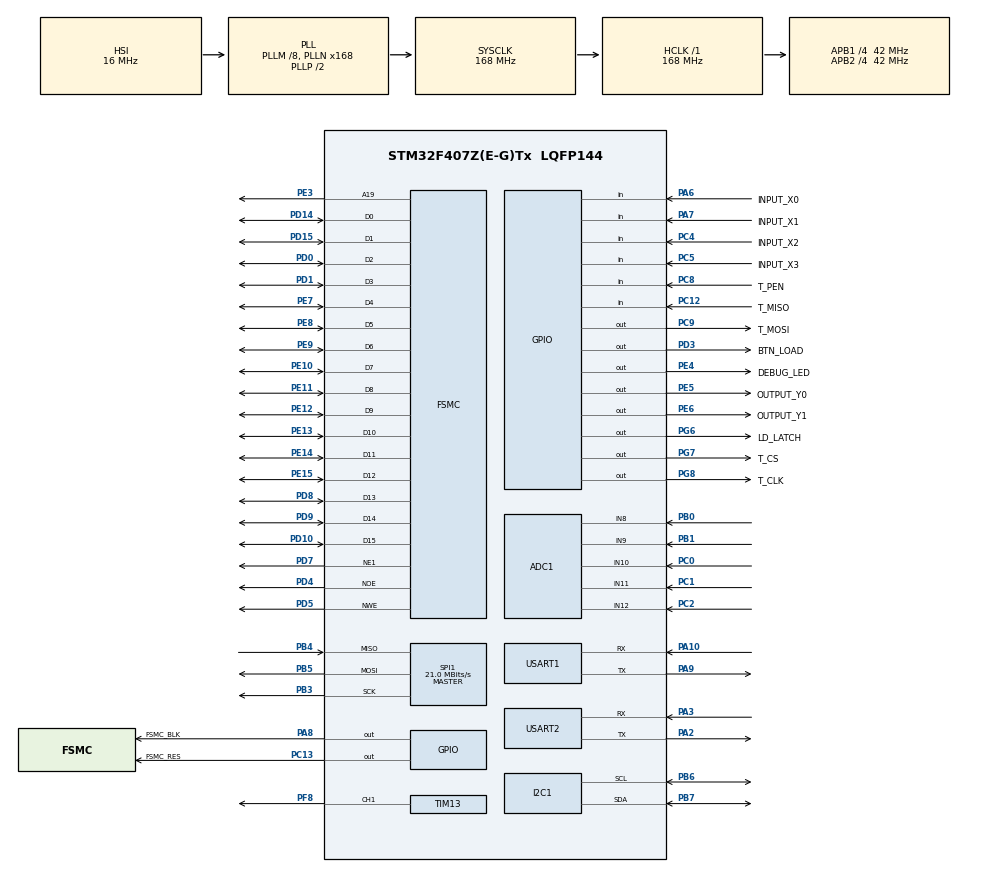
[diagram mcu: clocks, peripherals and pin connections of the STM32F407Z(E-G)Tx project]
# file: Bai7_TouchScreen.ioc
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ADC1.Channel-0\#ChannelRegularConversion=ADC_CHANNEL_8
ADC1.Channel-1\#ChannelRegularConversion=ADC_CHANNEL_9
ADC1.Channel-2\#ChannelRegularConversion=ADC_CHANNEL_10
ADC1.Channel-3\#ChannelRegularConversion=ADC_CHANNEL_11
ADC1.Channel-4\#ChannelRegularConversion=ADC_CHANNEL_12
ADC1.NbrOfConversion=5
ADC1.NbrOfConversionFlag=1
ADC1.Rank-0\#ChannelRegularConversion=1
ADC1.Rank-1\#ChannelRegularConversion=2
ADC1.Rank-2\#ChannelRegularConversion=3
ADC1.Rank-3\#ChannelRegularConversion=4
ADC1.Rank-4\#ChannelRegularConversion=5
ADC1.SamplingTime-0\#ChannelRegularConversion=ADC_SAMPLETIME_3CYCLES
ADC1.SamplingTime-1\#ChannelRegularConversion=ADC_SAMPLETIME_3CYCLES
ADC1.SamplingTime-2\#ChannelRegularConversion=ADC_SAMPLETIME_3CYCLES
ADC1.SamplingTime-3\#ChannelRegularConversion=ADC_SAMPLETIME_3CYCLES
ADC1.SamplingTime-4\#ChannelRegularConversion=ADC_SAMPLETIME_3CYCLES
ADC1.ScanConvMode=ENABLE
ADC1.master=1
Dma.ADC1.0.Direction=DMA_PERIPH_TO_MEMORY
Dma.ADC1.0.FIFOMode=DMA_FIFOMODE_DISABLE
Dma.ADC1.0.Instance=DMA2_Stream0
Dma.ADC1.0.MemDataAlignment=DMA_MDATAALIGN_HALFWORD
Dma.ADC1.0.MemInc=DMA_MINC_ENABLE
Dma.ADC1.0.Mode=DMA_CIRCULAR
Dma.ADC1.0.PeriphDataAlignment=DMA_PDATAALIGN_HALFWORD
Dma.ADC1.0.PeriphInc=DMA_PINC_DISABLE
Dma.ADC1.0.Priority=DMA_PRIORITY_LOW
Dma.Request0=ADC1
FSMC.AddressSetupTime1=0xf
FSMC.BusTurnAroundDuration1=0
FSMC.DataSetupTime1=60
FSMC.ExtendedAddressSetupTime1=8
FSMC.ExtendedBusTurnAroundDuration1=0
FSMC.ExtendedDataSetupTime1=9
FSMC.ExtendedMode1=FSMC_EXTENDED_MODE_ENABLE
I2C1.I2C_Mode=I2C_Standard
Mcu.Family=STM32F4
Mcu.Name=STM32F407Z(E-G)Tx
Mcu.Package=LQFP144
NVIC.DMA2_Stream0_IRQn=true\:0\:0\:false\:false\:true\:false\:true
NVIC.PriorityGroup=NVIC_PRIORITYGROUP_4
NVIC.TIM2_IRQn=true\:0\:0\:false\:false\:true\:true\:true
NVIC.USART1_IRQn=true\:0\:0\:false\:false\:true\:true\:true
NVIC.USART2_IRQn=true\:0\:0\:false\:false\:true\:true\:true
PA10.Mode=Asynchronous
PA10.Signal=USART1_RX
PA13.Mode=Serial_Wire
PA13.Signal=SYS_JTMS-SWDIO
PA14.Mode=Serial_Wire
PA14.Signal=SYS_JTCK-SWCLK
PA2.Mode=Asynchronous
PA2.Signal=USART2_TX
PA3.Mode=Asynchronous
PA3.Signal=USART2_RX
PA6.GPIO_Label=INPUT_X0
PA6.Signal=GPIO_Input
PA7.GPIO_Label=INPUT_X1
PA7.Signal=GPIO_Input
PA8.GPIO_Label=FSMC_BLK
PA8.Signal=GPIO_Output
PA9.Mode=Asynchronous
PA9.Signal=USART1_TX
PB0.Signal=ADCx_IN8
PB1.Signal=ADCx_IN9
PB3.Mode=Full_Duplex_Master
PB3.Signal=SPI1_SCK
PB4.Mode=Full_Duplex_Master
PB4.Signal=SPI1_MISO
PB5.Mode=Full_Duplex_Master
PB5.Signal=SPI1_MOSI
PB6.Mode=I2C
PB6.Signal=I2C1_SCL
PB7.Mode=I2C
PB7.Signal=I2C1_SDA
PC0.Signal=ADCx_IN10
PC1.Signal=ADCx_IN11
PC12.GPIO_Label=T_MISO
PC12.GPIO_PuPd=GPIO_PULLUP
PC12.Signal=GPIO_Input
PC13-ANTI_TAMP.GPIO_Label=FSMC_RES
PC13-ANTI_TAMP.Signal=GPIO_Output
PC2.Signal=ADCx_IN12
PC4.GPIO_Label=INPUT_X2
PC4.Signal=GPIO_Input
PC5.GPIO_Label=INPUT_X3
PC5.Signal=GPIO_Input
PC8.GPIO_Label=T_PEN
PC8.GPIO_PuPd=GPIO_PULLUP
PC8.Signal=GPIO_Input
PC9.GPIO_Label=T_MOSI
PC9.Signal=GPIO_Output
PD0.Signal=FSMC_D2_DA2
PD1.Signal=FSMC_D3_DA3
PD10.Signal=FSMC_D15_DA15
PD14.Signal=FSMC_D0_DA0
PD15.Signal=FSMC_D1_DA1
PD3.GPIO_Label=BTN_LOAD
PD3.Signal=GPIO_Output
PD4.Signal=FSMC_NOE
PD5.Signal=FSMC_NWE
PD7.Mode=NorPsramChipSelect1_1
PD7.Signal=FSMC_NE1
PD8.Signal=FSMC_D13_DA13
PD9.Signal=FSMC_D14_DA14
PE10.Signal=FSMC_D7_DA7
PE11.Signal=FSMC_D8_DA8
PE12.Signal=FSMC_D9_DA9
PE13.Signal=FSMC_D10_DA10
PE14.Signal=FSMC_D11_DA11
PE15.Signal=FSMC_D12_DA12
PE3.Signal=FSMC_A19
PE4.GPIO_Label=DEBUG_LED
PE4.Signal=GPIO_Output
PE5.GPIO_Label=OUTPUT_Y0
PE5.Signal=GPIO_Output
PE6.GPIO_Label=OUTPUT_Y1
PE6.Signal=GPIO_Output
PE7.Signal=FSMC_D4_DA4
PE8.Signal=FSMC_D5_DA5
PE9.Signal=FSMC_D6_DA6
PF8.Signal=S_TIM13_CH1
PG6.GPIO_Label=LD_LATCH
PG6.Signal=GPIO_Output
PG7.GPIO_Label=T_CS
PG7.Signal=GPIO_Output
PG8.GPIO_Label=T_CLK
PG8.Signal=GPIO_Output
PH0-OSC_IN.Mode=HSE-External-Oscillator
PH0-OSC_IN.Signal=RCC_OSC_IN
PH1-OSC_OUT.Mode=HSE-External-Oscillator
PH1-OSC_OUT.Signal=RCC_OSC_OUT
ProjectManager.HeapSize=0x200
ProjectManager.StackSize=0x400
ProjectManager.TargetToolchain=STM32CubeIDE
RCC.48MHZClocksFreq_Value=84000000
RCC.AHBFreq_Value=168000000
RCC.APB1CLKDivider=RCC_HCLK_DIV4
RCC.APB1Freq_Value=42000000
RCC.APB1TimFreq_Value=84000000
RCC.APB2CLKDivider=RCC_HCLK_DIV4
RCC.APB2Freq_Value=42000000
RCC.APB2TimFreq_Value=84000000
RCC.CortexFreq_Value=168000000
RCC.HCLKFreq_Value=168000000
RCC.HSE_VALUE=8000000
RCC.HSI_VALUE=16000000
RCC.LSE_VALUE=32768
RCC.PLLM=8
RCC.PLLN=168
RCC.SYSCLKFreq_VALUE=168000000
RCC.SYSCLKSource=RCC_SYSCLKSOURCE_PLLCLK
RCC.VCOOutputFreq_Value=336000000
SH.ADCx_IN10.0=ADC1_IN10,IN10
SH.ADCx_IN11.0=ADC1_IN11,IN11
SH.ADCx_IN12.0=ADC1_IN12,IN12
SH.ADCx_IN8.0=ADC1_IN8,IN8
SH.ADCx_IN9.0=ADC1_IN9,IN9
SH.FSMC_A19.0=FSMC_A19,A19_1
SH.FSMC_D0_DA0.0=FSMC_D0,16b-d1
SH.FSMC_D10_DA10.0=FSMC_D10,16b-d1
SH.FSMC_D11_DA11.0=FSMC_D11,16b-d1
SH.FSMC_D12_DA12.0=FSMC_D12,16b-d1
SH.FSMC_D13_DA13.0=FSMC_D13,16b-d1
SH.FSMC_D14_DA14.0=FSMC_D14,16b-d1
SH.FSMC_D15_DA15.0=FSMC_D15,16b-d1
SH.FSMC_D1_DA1.0=FSMC_D1,16b-d1
SH.FSMC_D2_DA2.0=FSMC_D2,16b-d1
SH.FSMC_D3_DA3.0=FSMC_D3,16b-d1
SH.FSMC_D4_DA4.0=FSMC_D4,16b-d1
SH.FSMC_D5_DA5.0=FSMC_D5,16b-d1
SH.FSMC_D6_DA6.0=FSMC_D6,16b-d1
SH.FSMC_D7_DA7.0=FSMC_D7,16b-d1
SH.FSMC_D8_DA8.0=FSMC_D8,16b-d1
SH.FSMC_D9_DA9.0=FSMC_D9,16b-d1
SH.FSMC_NOE.0=FSMC_NOE,Lcd1
SH.FSMC_NWE.0=FSMC_NWE,Lcd1
SH.S_TIM13_CH1.0=TIM13_CH1,PWM Generation1 CH1
SPI1.BaudRatePrescaler=SPI_BAUDRATEPRESCALER_2
SPI1.CalculateBaudRate=21.0 MBits/s
SPI1.Direction=SPI_DIRECTION_2LINES
SPI1.Mode=SPI_MODE_MASTER
SPI1.VirtualType=VM_MASTER
TIM1.Prescaler=84-1
TIM13.Channel=TIM_CHANNEL_1
TIM13.Period=100-1
TIM13.Prescaler=840-1
TIM2.Period=100-1
TIM2.Prescaler=840-1
USART1.VirtualMode=VM_ASYNC
USART2.VirtualMode=VM_ASYNC
VP_TIM13_VS_ClockSourceINT.Mode=Enable_Timer
VP_TIM1_VS_ClockSourceINT.Mode=Internal
VP_TIM2_VS_ClockSourceINT.Mode=Internal
board=custom

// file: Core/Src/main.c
/* USER CODE BEGIN Header */
/**
  ******************************************************************************
  * @file           : main.c
  * @brief          : Main program body
  ******************************************************************************
  * @attention
  *
  * <h2><center>&copy; Copyright (c) 2023 STMicroelectronics.
  * All rights reserved.</center></h2>
  *
  * This software component is licensed by ST under BSD 3-Clause license,
  * the "License"; You may not use this file except in compliance with the
  * License. You may obtain a copy of the License at:
  *                        opensource.org/licenses/BSD-3-Clause
  *
  ******************************************************************************
  */
/* USER CODE END Header */
#include "main.h"
#include "adc.h"
#include "dma.h"
#include "i2c.h"
#include "spi.h"
#include "tim.h"
#include "usart.h"
#include "gpio.h"
#include "fsmc.h"

/* USER CODE BEGIN Includes */
#include "software_timer.h"
#include "led_7seg.h"
#include "button.h"
#include "lcd.h"
#include "picture.h"
#include "ds3231.h"
#include "sensor.h"
#include "buzzer.h"
#include "touch.h"
#include "fsm.h"
#include "snake.h"
#include "screen.h"
#include "touch_screen.h"
/* USER CODE END Includes */

/* USER CODE BEGIN PV */
#define INIT 0
#define DRAW 1
#define CLEAR 2

int draw_Status = INIT;
/* USER CODE END PV */

void SystemClock_Config(void);
/* USER CODE BEGIN PFP */
void system_init();
void test_LedDebug();
void touchProcess();
void test_button();
uint8_t isButtonClear();
void test_Adc();
void sendSensor();
/* USER CODE END PFP */

int main(void)
{

  /* MCU Configuration--------------------------------------------------------*/

  /* Reset of all peripherals, Initializes the Flash interface and the Systick. */
  HAL_Init();

  /* Configure the system clock */
  SystemClock_Config();

  /* Initialize all configured peripherals */
  MX_GPIO_Init();
  MX_TIM2_Init();
  MX_SPI1_Init();
  MX_FSMC_Init();
  MX_I2C1_Init();
  MX_TIM13_Init();
  MX_DMA_Init();
  MX_ADC1_Init();
  MX_TIM1_Init();
  MX_USART1_UART_Init();
  MX_USART2_UART_Init();
  /* USER CODE BEGIN 2 */
  system_init();
  /* USER CODE END 2 */

  /* Infinite loop */
  /* USER CODE BEGIN WHILE */
 //touch_Adjust();
 setTimer3(100);
 setTimer5(10);
 setTimer7(10);
 while (1)
  {
	  //scan touch screen
	  //check if touch screen is touched
	  /*if(touch_IsTouched() && draw_Status == DRAW){
            //draw a point at the touch position
		  lcd_DrawPoint(touch_GetX(), touch_GetY(), RED);
	  }*/
	  // 50ms task
	  while(!flag_timer2);
	  flag_timer2 = 0;
	  touch_Scan();
	  button_Scan();
//	  if(flag_timer5 == 1){
//		  sendSensor();
//		  setTimer5(5000);
//	  }
//	  if(isHumidity()){
//		  buzzer_check = 1;
//	  }else{
//		  buzzer_check = 0;
//	  }
//	  if (isLight()){
//		HAL_GPIO_WritePin(OUTPUT_Y0_GPIO_Port, OUTPUT_Y0_Pin, SET);
//	  }else{
//		  HAL_GPIO_WritePin(OUTPUT_Y0_GPIO_Port, OUTPUT_Y0_Pin, RESET);
//	  }
//	  if(status == INIT || status == GAME_OVER)
//		  test_Adc();
	  //touchProcess();
	  fsm_machine();
//	  test_LedDebug();
//	  fsm_send_buzzer();
	  //test_button();

    /* USER CODE END WHILE */

  }
}

void SystemClock_Config(void)
{
  RCC_OscInitTypeDef RCC_OscInitStruct = {0};
  RCC_ClkInitTypeDef RCC_ClkInitStruct = {0};

  /** Configure the main internal regulator output voltage
  */
  __HAL_RCC_PWR_CLK_ENABLE();
  __HAL_PWR_VOLTAGESCALING_CONFIG(PWR_REGULATOR_VOLTAGE_SCALE1);
  /** Initializes the RCC Oscillators according to the specified parameters
  * in the RCC_OscInitTypeDef structure.
  */
  RCC_OscInitStruct.OscillatorType = RCC_OSCILLATORTYPE_HSI;
  RCC_OscInitStruct.HSIState = RCC_HSI_ON;
  RCC_OscInitStruct.HSICalibrationValue = RCC_HSICALIBRATION_DEFAULT;
  RCC_OscInitStruct.PLL.PLLState = RCC_PLL_ON;
  RCC_OscInitStruct.PLL.PLLSource = RCC_PLLSOURCE_HSI;
  RCC_OscInitStruct.PLL.PLLM = 8;
  RCC_OscInitStruct.PLL.PLLN = 168;
  RCC_OscInitStruct.PLL.PLLP = RCC_PLLP_DIV2;
  RCC_OscInitStruct.PLL.PLLQ = 4;
  if (HAL_RCC_OscConfig(&RCC_OscInitStruct) != HAL_OK)
  {
    Error_Handler();
  }
  /** Initializes the CPU, AHB and APB buses clocks
  */
  RCC_ClkInitStruct.ClockType = RCC_CLOCKTYPE_HCLK|RCC_CLOCKTYPE_SYSCLK
                              |RCC_CLOCKTYPE_PCLK1|RCC_CLOCKTYPE_PCLK2;
  RCC_ClkInitStruct.SYSCLKSource = RCC_SYSCLKSOURCE_PLLCLK;
  RCC_ClkInitStruct.AHBCLKDivider = RCC_SYSCLK_DIV1;
  RCC_ClkInitStruct.APB1CLKDivider = RCC_HCLK_DIV4;
  RCC_ClkInitStruct.APB2CLKDivider = RCC_HCLK_DIV4;

  if (HAL_RCC_ClockConfig(&RCC_ClkInitStruct, FLASH_LATENCY_5) != HAL_OK)
  {
    Error_Handler();
  }
}

/* USER CODE BEGIN 4 */
void system_init(){
	  timer_init();
	  button_init();
	  buzzer_init();
	  lcd_init();
	  touch_init();
	  setTimer2(50);
	  uart_init_esp();

	  lcd_Clear(BLACK);
	  lcd_Fill(50, 250, 190, 300, GREEN);
	  lcd_ShowStr(90,260,"START",BLACK,BLACK,24,1);
}

uint8_t count_adc = 0;

void test_Adc(){
	count_adc = (count_adc + 1)%20;
	if(count_adc == 0){
		sensor_Read();
		lcd_ShowStr(10, 0, "Wattage:", RED, BLACK, 16, 0);
		lcd_ShowFloatNum(130, 0,getWattage(), 4, RED, BLACK, 16);
		if(!isLight()){
			lcd_ShowStr(10, 20, "Light:", RED, BLACK, 16, 0);
			lcd_ShowStr(130, 20,"Strong", RED, BLACK, 16, 0);
		}else{
			lcd_ShowStr(10, 20, "Light:", RED, BLACK, 16, 0);
			lcd_ShowStr(130, 20,"Weak  ", RED, BLACK, 16, 0);
		}
		//lcd_ShowStr(10, 140, "Light:", RED, BLACK, 16, 0);
		//lcd_ShowIntNum(130, 140, sensor_GetLight(), 4, RED, BLACK, 16);
		lcd_ShowStr(10, 40, "Potentiometer:", RED, BLACK, 16, 0);
		lcd_ShowFloatNum(130, 40, ((float)sensor_GetPotentiometer()/4095)*100, 4, RED, BLACK, 16);
		//lcd_ShowIntNum(130, 40, sensor_GetPotentiometer(), 4, RED, BLACK, 16);
		lcd_ShowStr(10, 60, "Temperature:", RED, BLACK, 16, 0);
		lcd_ShowFloatNum(130, 60,sensor_GetTemperature(), 4, RED, BLACK, 16);
	}
}

uint8_t count_led_debug = 0;

void test_LedDebug(){
	count_led_debug = (count_led_debug + 1)%20;
	if(count_led_debug == 0){
		HAL_GPIO_TogglePin(DEBUG_LED_GPIO_Port, DEBUG_LED_Pin);
	}
}

uint8_t isButtonClear(){
	if(!touch_IsTouched()) return 0;
	return touch_GetX() > 60 && touch_GetX() < 180 && touch_GetY() > 10 && touch_GetY() < 60;
}

void touchProcess(){
	switch (draw_Status) {
		case INIT:
                // display blue button
			lcd_Fill(60, 10, 180, 60, GBLUE);
			lcd_ShowStr(90, 20, "CLEAR", RED, BLACK, 24, 1);
			draw_Status = DRAW;
			break;
		case DRAW:
			if(isButtonClear()){
				draw_Status = CLEAR;
                    // clear board
				lcd_Fill(0, 60, 240, 320, BLACK);
                    // display green button
				lcd_Fill(60, 10, 180, 60, GREEN);
				lcd_ShowStr(90, 20, "CLEAR", RED, BLACK, 24, 1);
			}
			break;
		case CLEAR:
			if(!touch_IsTouched()) draw_Status = INIT;
			break;
		default:
			break;
	}
}

void test_button(){
	for(int i = 0; i < 16; i++){
		if(button_count[i] == 1){
			led7_SetDigit(i/10, 2, 0);
			led7_SetDigit(i%10, 3, 0);
		}
	}
}

void sendSensor(){
	if(send_flag == 0){
		char res[100];
		char light[10];
		if(!isLight()){
			sprintf(light, "Strong");
		}else{
			sprintf(light, "Weak");
		}
		//int light = sensor_GetLight();
		int po1 = sensor_GetPotentiometer();
		int temp1 = sensor_GetTemperature();
		if(status != PLAY){
			sprintf(res, "Light : %s\nPotentiometer : %d \nTemperature : %d\nNo one is playing\n%c",light, po1, temp1, sec);// khong co ai choi
			uart_EspSendString(res);
		}
		if(status == PLAY){
			sprintf(res, "Light : %s\nPotentiometer : %d \nTemperature : %d\n%d is playing\nTime : %d sec\nScore : %d\n%c",light, po1, temp1, ID, count, score, sec);//dang co nguoi choi
			uart_EspSendString(res);
		}
	}
}
/* USER CODE END 4 */

void Error_Handler(void)
{
  __disable_irq();
  while (1)
  {
  }
}

/************************ (C) COPYRIGHT STMicroelectronics *****END OF FILE****/
